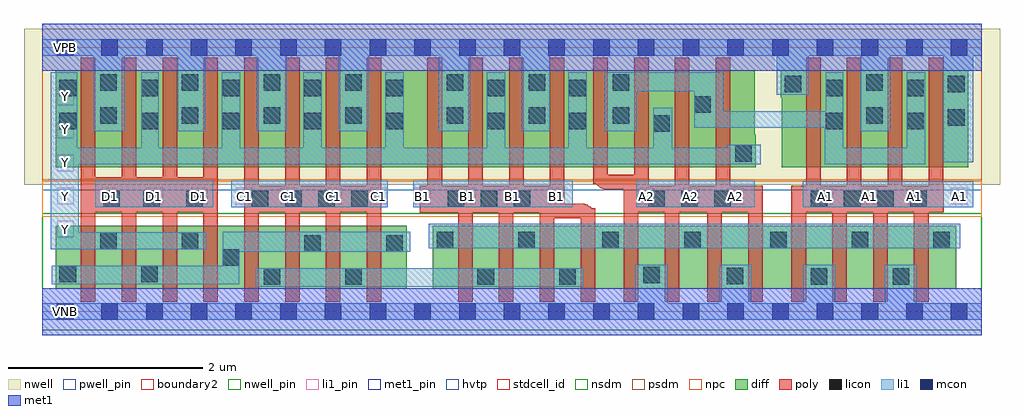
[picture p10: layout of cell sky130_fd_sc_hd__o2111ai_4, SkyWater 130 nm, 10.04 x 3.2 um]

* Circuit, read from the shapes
.subckt sky130_fd_sc_hd__o2111ai_4 A1 A2 B1 C1 D1 VGND VNB VPB VPWR Y
XM1 Y D1 n1 VNB sky130_fd_pr__nfet_01v8 w=0.65 l=0.15 m=4
XM2 n2 C1 n1 VNB sky130_fd_pr__nfet_01v8 w=0.65 l=0.15 m=4
XM3 n2 B1 n3 VNB sky130_fd_pr__nfet_01v8 w=0.65 l=0.15 m=4
XM4 VGND A2 n3 VNB sky130_fd_pr__nfet_01v8 w=0.65 l=0.15 m=4
XM5 VGND A1 n3 VNB sky130_fd_pr__nfet_01v8 w=0.65 l=0.15 m=4
XM6 VPWR D1 Y VPB sky130_fd_pr__pfet_01v8_hvt w=1 l=0.15 m=4
XM7 VPWR C1 Y VPB sky130_fd_pr__pfet_01v8_hvt w=1 l=0.15 m=4
XM8 VPWR B1 Y VPB sky130_fd_pr__pfet_01v8_hvt w=1 l=0.15 m=4
XM9 n4 A2 Y VPB sky130_fd_pr__pfet_01v8_hvt w=1 l=0.15 m=4
XM10 n4 A1 VPWR VPB sky130_fd_pr__pfet_01v8_hvt w=1 l=0.15 m=4
.ends

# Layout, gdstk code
import gdstk
lib = gdstk.Library(unit=1e-6, precision=1e-09)
def R(c, l, rs):  # rectangles x0, y0, x1, y1
    for r in rs: c.add(gdstk.rectangle(r[:2], r[2:], *l))
def A(c, l, x, y, w, h, nx, ny, dx, dy):  # array of equal rectangles
    R(c, l, [(x+i*dx, y+j*dy, x+i*dx+w, y+j*dy+h) for i in range(nx) for j in range(ny)])
def P(c, l, *ps):  # polygons
    for p in ps: c.add(gdstk.Polygon(p, *l))
nwell_pin = (64, 16)
nwell = (64, 20)
diff = (65, 20)
poly = (66, 20)
licon = (66, 44)
li1_pin = (67, 16)
li1 = (67, 20)
mcon = (67, 44)
met1_pin = (68, 16)
met1 = (68, 20)
hvtp = (78, 44)
stdcell_id = (81, 4)
nsdm = (93, 44)
psdm = (94, 20)
npc = (95, 20)
pwell_pin = (122, 16)
boundary2 = (236, 0)

sky130_fd_sc_hd__o2111ai = lib.new_cell('sky130_fd_sc_hd__o2111ai_4')
R(sky130_fd_sc_hd__o2111ai, nwell_pin, [(0.15,2.635,0.32,2.805)])
R(sky130_fd_sc_hd__o2111ai, nwell, [(-0.19,1.305,9.85,2.91)])
R(sky130_fd_sc_hd__o2111ai, diff, [(0.135,0.235,3.745,0.885), (4.015,0.235,9.4,0.885)])
P(sky130_fd_sc_hd__o2111ai, diff, [(7.335,1.82),(7.325,1.82),(7.325,2.485),(0.135,2.485),(0.135,1.485),(7.335,1.485)],
  [(9.525,2.485),(7.595,2.485),(7.595,2.2),(7.605,2.2),(7.605,1.485),(9.525,1.485)])
P(sky130_fd_sc_hd__o2111ai, poly, [(3.485,2.615),(3.335,2.615),(3.335,1.295),(3.065,1.295),(3.065,2.615),(2.915,2.615),(2.915,1.295),(2.645,1.295),(2.645,2.615),(2.495,2.615),(2.495,1.295),(2.225,1.295),(2.225,2.615),(2.075,2.615),(2.075,0.105),(2.225,0.105),(2.225,1.025),(2.495,1.025),(2.495,0.105),(2.645,0.105),(2.645,1.025),(2.915,1.025),(2.915,0.105),(3.065,0.105),(3.065,1.025),(3.335,1.025),(3.335,0.105),(3.485,0.105)],
  [(1.805,2.615),(1.655,2.615),(1.655,1.385),(1.385,1.385),(1.385,2.615),(1.235,2.615),(1.235,1.385),(0.965,1.385),(0.965,2.615),(0.815,2.615),(0.815,1.385),(0.545,1.385),(0.545,2.615),(0.395,2.615),(0.395,0.105),(0.545,0.105),(0.545,1.025),(0.815,1.025),(0.815,0.105),(0.965,0.105),(0.965,1.025),(1.235,1.025),(1.235,0.105),(1.385,0.105),(1.385,1.025),(1.655,1.025),(1.655,0.105),(1.805,0.105)],
  [(5.685,1.065),(5.645,1.065),(5.645,1.07),(5.64,1.07),(5.64,1.075),(5.635,1.075),(5.635,1.08),(5.625,1.08),(5.625,1.085),(5.62,1.085),(5.62,1.09),(5.61,1.09),(5.61,1.095),(5.605,1.095),(5.605,1.1),(5.59,1.1),(5.59,1.105),(5.575,1.105),(5.575,1.11),(5.37,1.11),(5.37,2.615),(5.22,2.615),(5.22,1.295),(4.95,1.295),(4.95,2.615),(4.8,2.615),(4.8,1.295),(4.53,1.295),(4.53,2.615),(4.38,2.615),(4.38,1.295),(4.11,1.295),(4.11,2.615),(3.96,2.615),(3.96,1.295),(3.88,1.295),(3.88,1.02),(4.275,1.02),(4.275,0.105),(4.425,0.105),(4.425,1.02),(4.695,1.02),(4.695,0.105),(4.845,0.105),(4.845,1.02),(5.115,1.02),(5.115,0.105),(5.265,0.105),(5.265,0.96),(5.535,0.96),(5.535,0.105),(5.685,0.105)],
  [(9.27,1.295),(9.265,1.295),(9.265,2.615),(9.115,2.615),(9.115,1.295),(8.845,1.295),(8.845,2.615),(8.695,2.615),(8.695,1.295),(8.425,1.295),(8.425,2.615),(8.275,2.615),(8.275,1.295),(8.005,1.295),(8.005,2.615),(7.855,2.615),(7.855,1.295),(7.705,1.295),(7.705,0.105),(7.855,0.105),(7.855,1.025),(8.125,1.025),(8.125,0.105),(8.275,0.105),(8.275,1.025),(8.545,1.025),(8.545,0.105),(8.695,0.105),(8.695,1.025),(8.965,1.025),(8.965,0.105),(9.115,0.105),(9.115,1.025),(9.27,1.025)],
  [(7.41,1.295),(7.075,1.295),(7.075,2.615),(6.925,2.615),(6.925,1.295),(6.655,1.295),(6.655,2.615),(6.505,2.615),(6.505,1.295),(6.235,1.295),(6.235,2.615),(6.085,2.615),(6.085,1.41),(5.815,1.41),(5.815,2.615),(5.665,2.615),(5.665,1.315),(5.695,1.315),(5.695,1.31),(5.7,1.31),(5.7,1.305),(5.705,1.305),(5.705,1.3),(5.71,1.3),(5.71,1.295),(5.715,1.295),(5.715,1.29),(5.725,1.29),(5.725,1.285),(5.73,1.285),(5.73,1.28),(5.74,1.28),(5.74,1.275),(5.745,1.275),(5.745,1.27),(5.76,1.27),(5.76,1.265),(5.775,1.265),(5.775,1.26),(5.98,1.26),(5.98,0.105),(6.13,0.105),(6.13,1.025),(6.4,1.025),(6.4,0.105),(6.55,0.105),(6.55,1.025),(6.84,1.025),(6.84,0.105),(6.99,0.105),(6.99,1.025),(7.26,1.025),(7.26,0.105),(7.41,0.105)])
A(sky130_fd_sc_hd__o2111ai, licon, 7.485, 0.655, 0.17, 0.17, 3, 1, 0.84, 0)
A(sky130_fd_sc_hd__o2111ai, licon, 2.155, 1.075, 0.17, 0.17, 4, 1, 0.34, 0)
A(sky130_fd_sc_hd__o2111ai, licon, 4.17, 1.075, 0.17, 0.17, 3, 1, 0.34, 0)
A(sky130_fd_sc_hd__o2111ai, licon, 6.23, 1.075, 0.17, 0.17, 3, 1, 0.34, 0)
A(sky130_fd_sc_hd__o2111ai, licon, 7.905, 1.075, 0.17, 0.17, 4, 1, 0.34, 0)
A(sky130_fd_sc_hd__o2111ai, licon, 0.175, 1.875, 0.17, 0.17, 5, 2, 0.84, 0.34)
A(sky130_fd_sc_hd__o2111ai, licon, 0.595, 1.935, 0.17, 0.17, 4, 2, 0.84, 0.34)
R(sky130_fd_sc_hd__o2111ai, licon, [(2.275,0.275,2.445,0.445), (3.115,0.275,3.285,0.445), (4.475,0.275,4.645,0.445), (5.315,0.275,5.485,0.445), (7.905,0.275,8.075,0.445), (8.745,0.275,8.915,0.445), (7.04,0.28,7.21,0.45), (6.18,0.295,6.35,0.465), (0.175,0.305,0.345,0.475), (1.015,0.305,1.185,0.475), (1.855,0.475,2.025,0.645), (2.695,0.615,2.865,0.785), (3.535,0.615,3.705,0.785), (0.595,0.645,0.765,0.815), (1.435,0.645,1.605,0.815), (4.055,0.655,4.225,0.825), (4.895,0.655,5.065,0.825), (5.76,0.655,5.93,0.825), (6.6,0.655,6.77,0.825), (0.625,1.075,0.795,1.245), (1.035,1.075,1.205,1.245), (1.48,1.075,1.65,1.245), (7.125,1.545,7.295,1.715), (6.285,1.85,6.455,2.02), (4.58,1.875,4.75,2.045), (5.42,1.875,5.59,2.045), (8.055,1.875,8.225,2.045), (8.895,1.875,9.065,2.045), (9.315,1.915,9.485,2.085), (4.16,1.935,4.33,2.105), (5,1.935,5.17,2.105), (5.865,1.935,6.035,2.105), (8.475,1.935,8.645,2.105), (6.705,2.045,6.875,2.215), (4.58,2.215,4.75,2.385), (5.42,2.215,5.59,2.385), (8.055,2.215,8.225,2.385), (8.895,2.215,9.065,2.385), (7.635,2.255,7.805,2.425), (9.315,2.255,9.485,2.425), (4.16,2.275,4.33,2.445), (5,2.275,5.17,2.445), (5.865,2.275,6.035,2.445), (8.475,2.275,8.645,2.445)])
A(sky130_fd_sc_hd__o2111ai, li1_pin, 0.15, 1.105, 0.17, 0.17, 8, 1, 0.46, 0)
A(sky130_fd_sc_hd__o2111ai, li1_pin, 3.825, 1.105, 0.17, 0.17, 4, 1, 0.46, 0)
A(sky130_fd_sc_hd__o2111ai, li1_pin, 6.125, 1.105, 0.17, 0.17, 3, 1, 0.46, 0)
A(sky130_fd_sc_hd__o2111ai, li1_pin, 7.965, 1.105, 0.17, 0.17, 4, 1, 0.46, 0)
A(sky130_fd_sc_hd__o2111ai, li1_pin, 0.15, 1.445, 0.17, 0.17, 1, 3, 0, 0.34)
R(sky130_fd_sc_hd__o2111ai, li1_pin, [(0.15,0.765,0.32,0.935)])
R(sky130_fd_sc_hd__o2111ai, li1, [(2.195,0.255,5.565,0.445), (3.975,0.655,9.44,0.905), (0.545,1.075,1.755,1.345), (1.94,1.075,3.55,1.345), (3.815,1.075,5.455,1.345), (6.11,1.075,7.325,1.345), (7.82,1.075,9.575,1.34)])
P(sky130_fd_sc_hd__o2111ai, li1, [(9.08,2.465),(8.89,2.465),(8.89,1.685),(8.235,1.685),(8.235,2.465),(8.055,2.465),(8.055,2.06),(7.005,2.06),(7.005,2.465),(5.785,2.465),(5.785,1.855),(6.115,1.855),(6.115,2.27),(6.705,2.27),(6.705,1.89),(8.045,1.89),(8.045,1.515),(9.08,1.515)],
  [(7.39,1.72),(7.045,1.72),(7.045,1.685),(6.48,1.685),(6.48,2.1),(6.285,2.1),(6.285,1.685),(5.6,1.685),(5.6,2.465),(5.41,2.465),(5.41,1.685),(4.76,1.685),(4.76,2.465),(4.57,2.465),(4.57,1.685),(3.715,1.685),(3.715,2.465),(3.525,2.465),(3.525,1.685),(2.875,1.685),(2.875,2.465),(2.685,2.465),(2.685,1.685),(2.035,1.685),(2.035,2.465),(1.845,2.465),(1.845,1.685),(1.195,1.685),(1.195,2.465),(1.015,2.465),(1.015,1.685),(0.36,1.685),(0.36,2.465),(0.085,2.465),(0.085,0.645),(1.685,0.645),(1.685,0.815),(0.375,0.815),(0.375,1.515),(7.39,1.515)],
  [(9.66,2.805),(0,2.805),(0,2.635),(0.53,2.635),(0.53,1.855),(0.845,1.855),(0.845,2.635),(1.39,2.635),(1.39,1.855),(1.675,1.855),(1.675,2.635),(2.205,2.635),(2.205,1.855),(2.515,1.855),(2.515,2.635),(3.045,2.635),(3.045,1.855),(3.355,1.855),(3.355,2.635),(4.075,2.635),(4.075,1.855),(4.4,1.855),(4.4,2.635),(4.93,2.635),(4.93,1.855),(5.22,1.855),(5.22,2.635),(7.555,2.635),(7.555,2.23),(7.885,2.23),(7.885,2.635),(8.41,2.635),(8.41,1.855),(8.72,1.855),(8.72,2.635),(9.265,2.635),(9.265,1.535),(9.575,1.535),(9.575,2.635),(9.66,2.635)],
  [(3.785,0.825),(1.855,0.825),(1.855,0.475),(0.095,0.475),(0.095,0.285),(2.025,0.285),(2.025,0.615),(3.785,0.615)],
  [(9.66,0.085),(8.995,0.085),(8.995,0.485),(8.665,0.485),(8.665,0.085),(8.155,0.085),(8.155,0.485),(7.825,0.485),(7.825,0.085),(7.29,0.085),(7.29,0.485),(6.96,0.485),(6.96,0.085),(6.43,0.085),(6.43,0.485),(6.1,0.485),(6.1,0.085),(0,0.085),(0,-0.085),(9.66,-0.085)])
A(sky130_fd_sc_hd__o2111ai, mcon, 0.145, -0.085, 0.17, 0.17, 21, 2, 0.46, 2.72)
R(sky130_fd_sc_hd__o2111ai, met1_pin, [(0.15,-0.085,0.32,0.085), (0.15,2.635,0.32,2.805)])
R(sky130_fd_sc_hd__o2111ai, hvtp, [(0,1.25,9.66,2.72)])
R(sky130_fd_sc_hd__o2111ai, stdcell_id, [(0,0,9.66,2.72)])
R(sky130_fd_sc_hd__o2111ai, nsdm, [(0,-0.19,9.66,1.015)])
R(sky130_fd_sc_hd__o2111ai, psdm, [(0,1.355,9.66,2.91)])
R(sky130_fd_sc_hd__o2111ai, npc, [(0,0.975,9.66,1.345)])
R(sky130_fd_sc_hd__o2111ai, pwell_pin, [(0.15,-0.085,0.32,0.085)])
R(sky130_fd_sc_hd__o2111ai, boundary2, [(0,0,9.66,2.72)])
sky130_fd_sc_hd__o2111ai.add(gdstk.FlexPath([(0,0),(9.66,0)], 0.48, ends="flush", simple_path=True, layer=68, datatype=20))  # met1
sky130_fd_sc_hd__o2111ai.add(gdstk.FlexPath([(0,2.72),(9.66,2.72)], 0.48, ends="flush", simple_path=True, layer=68, datatype=20))  # met1
sky130_fd_sc_hd__o2111ai.add(gdstk.Label('A1', (9.43,1.19), layer=67, texttype=5))
sky130_fd_sc_hd__o2111ai.add(gdstk.Label('A1', (8.97,1.19), layer=67, texttype=5))
sky130_fd_sc_hd__o2111ai.add(gdstk.Label('A1', (8.51,1.19), layer=67, texttype=5))
sky130_fd_sc_hd__o2111ai.add(gdstk.Label('A1', (8.05,1.19), layer=67, texttype=5))
sky130_fd_sc_hd__o2111ai.add(gdstk.Label('A2', (7.13,1.19), layer=67, texttype=5))
sky130_fd_sc_hd__o2111ai.add(gdstk.Label('A2', (6.67,1.19), layer=67, texttype=5))
sky130_fd_sc_hd__o2111ai.add(gdstk.Label('A2', (6.21,1.19), layer=67, texttype=5))
sky130_fd_sc_hd__o2111ai.add(gdstk.Label('B1', (5.29,1.19), layer=67, texttype=5))
sky130_fd_sc_hd__o2111ai.add(gdstk.Label('B1', (4.83,1.19), layer=67, texttype=5))
sky130_fd_sc_hd__o2111ai.add(gdstk.Label('B1', (4.37,1.19), layer=67, texttype=5))
sky130_fd_sc_hd__o2111ai.add(gdstk.Label('B1', (3.91,1.19), layer=67, texttype=5))
sky130_fd_sc_hd__o2111ai.add(gdstk.Label('C1', (3.455,1.19), layer=67, texttype=5))
sky130_fd_sc_hd__o2111ai.add(gdstk.Label('C1', (2.995,1.19), layer=67, texttype=5))
sky130_fd_sc_hd__o2111ai.add(gdstk.Label('C1', (2.535,1.19), layer=67, texttype=5))
sky130_fd_sc_hd__o2111ai.add(gdstk.Label('C1', (2.075,1.19), layer=67, texttype=5))
sky130_fd_sc_hd__o2111ai.add(gdstk.Label('D1', (1.615,1.19), layer=67, texttype=5))
sky130_fd_sc_hd__o2111ai.add(gdstk.Label('D1', (1.155,1.19), layer=67, texttype=5))
sky130_fd_sc_hd__o2111ai.add(gdstk.Label('Y', (0.235,1.53), layer=67, texttype=5))
sky130_fd_sc_hd__o2111ai.add(gdstk.Label('Y', (0.235,0.85), layer=67, texttype=5))
sky130_fd_sc_hd__o2111ai.add(gdstk.Label('D1', (0.695,1.19), layer=67, texttype=5))
sky130_fd_sc_hd__o2111ai.add(gdstk.Label('Y', (0.235,2.21), layer=67, texttype=5))
sky130_fd_sc_hd__o2111ai.add(gdstk.Label('Y', (0.235,1.87), layer=67, texttype=5))
sky130_fd_sc_hd__o2111ai.add(gdstk.Label('Y', (0.235,1.19), layer=67, texttype=5))
sky130_fd_sc_hd__o2111ai.add(gdstk.Label('VNB', (0.235,0), layer=64, texttype=59))
sky130_fd_sc_hd__o2111ai.add(gdstk.Label('VPB', (0.235,2.72), layer=64, texttype=5))
sky130_fd_sc_hd__o2111ai.add(gdstk.Label('VGND', (0.235,0), layer=68, texttype=5))
sky130_fd_sc_hd__o2111ai.add(gdstk.Label('VPWR', (0.235,2.72), layer=68, texttype=5))
sky130_fd_sc_hd__o2111ai.add(gdstk.Label('o2111ai_4', (0,0), layer=83, texttype=44))

lib.write_gds('sky130_fd_sc_hd__o2111ai_4.gds')
